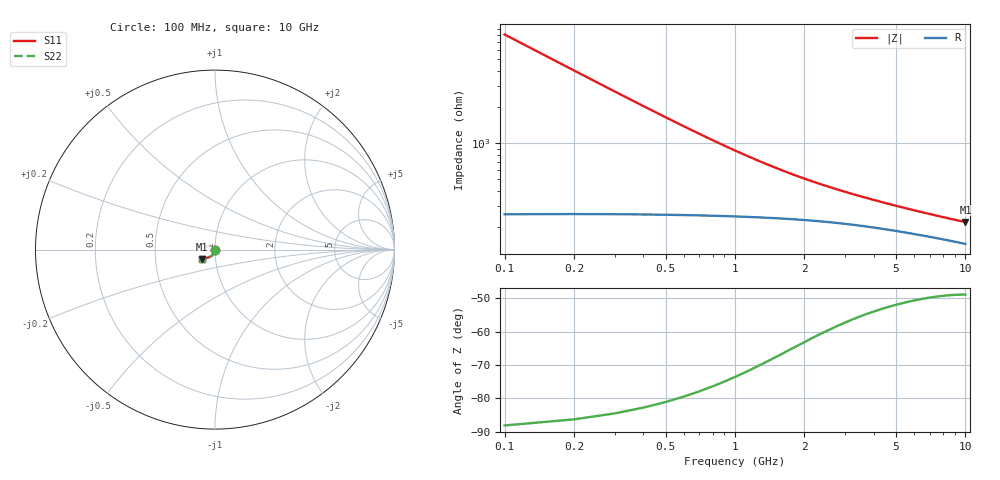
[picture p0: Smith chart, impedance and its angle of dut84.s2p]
! Touchstone file exported from HFSS 2024.1.0
!  File:  C:/UserFiles/LocalFiles/RDL_TSV_Batchsim/temp_TSV1_84_1778827033.aedt
!  Generated:  02:42:01 PM May 15, 2026
!  Design:  TSV1
!  Project:  temp_TSV1_84_1778827033
!  Setup:  Setup1
!  Solution:  Sweep
! Variables:
!  dtsv = 22.33um
!  hbump = 3um
!  htsv = 72.99um
!  lrdl = 252.1521522um
!  p = 40
!  p1 = 55.5um
!  t = 500um
!  trdl = 3um
!  wrdl = 24.89489489um
# GHz S MA R 50.000000
! Terminal data exported
! Port[1] = TSV22_T1
! Port[2] = TSV22_T2
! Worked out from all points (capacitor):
!   100 points, 100 MHz to 10 GHz, reference 50 ohm
!   read as one part in shunt: C = 197 fF near 100 MHz
!   lowest |Z| = 221 ohm at 10 GHz (marker M1)
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0.1  0.002812 -90.7  0.9998 -0.2  0.9998 -0.2  0.002812 -90.7
! Gamma 0 0 0 0
! Port Impedance 50 0 50 0
0.2  0.00561 -93.5  0.9995 -0.4  0.9995 -0.4  0.00561 -93.5
0.3  0.008381 -95.7  0.999 -0.6  0.999 -0.6  0.008381 -95.7
0.4  0.01111 -97.8  0.9983 -0.8  0.9983 -0.8  0.01111 -97.8
0.5  0.01379 -99.9  0.9974 -0.9  0.9974 -0.9  0.01379 -99.9
0.6  0.0164 -101.8  0.9964 -1.1  0.9964 -1.1  0.0164 -101.8
0.7  0.01894 -103.7  0.9952 -1.3  0.9952 -1.3  0.01894 -103.7
0.8  0.02139 -105.5  0.994 -1.4  0.994 -1.4  0.02139 -105.5
0.9  0.02376 -107.2  0.9927 -1.6  0.9927 -1.6  0.02376 -107.2
1.1  0.02821 -110.5  0.9899 -1.8  0.9899 -1.8  0.02821 -110.5
1.4  0.0342 -114.8  0.9856 -2.2  0.9856 -2.2  0.0342 -114.8
1.6  0.03775 -117.3  0.9827 -2.4  0.9827 -2.4  0.03775 -117.3
1.8  0.04097 -119.6  0.9799 -2.6  0.9799 -2.6  0.04097 -119.6
2.1  0.04529 -122.6  0.9758 -2.8  0.9758 -2.8  0.04529 -122.6
2.5  0.05024 -126.0  0.9709 -3.1  0.9709 -3.1  0.05024 -126.0
2.9  0.05449 -128.6  0.9665 -3.3  0.9665 -3.3  0.05449 -128.6
3.4  0.05906 -131.3  0.9616 -3.5  0.9616 -3.5  0.05906 -131.3
4.2  0.06518 -134.6  0.9551 -3.9  0.9551 -3.9  0.06518 -134.6
5.1  0.07087 -137.4  0.9489 -4.2  0.9489 -4.2  0.07087 -137.4
6.7  0.07891 -140.8  0.9402 -4.8  0.9402 -4.8  0.07891 -140.8
8.4  0.08547 -143.3  0.9332 -5.4  0.9332 -5.4  0.08547 -143.3
10  0.09041 -144.9  0.9281 -5.9  0.9281 -5.9  0.09041 -144.9
